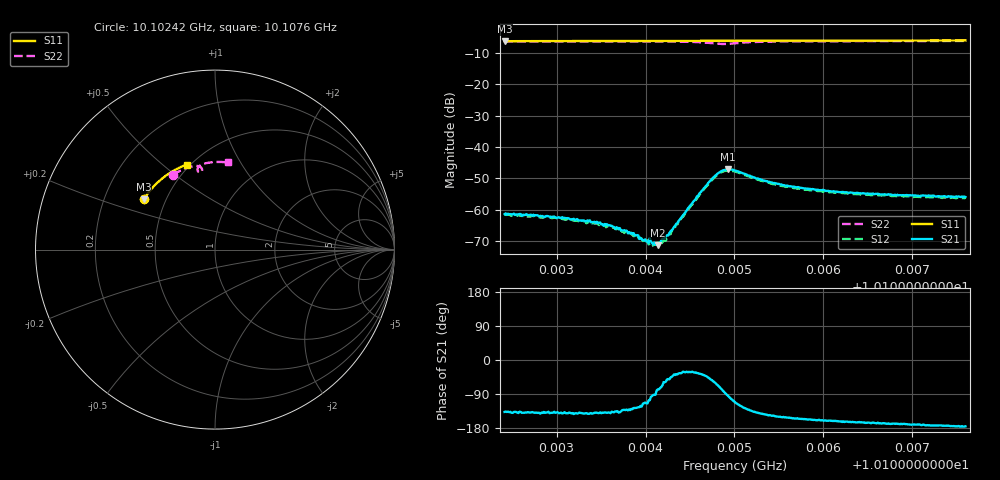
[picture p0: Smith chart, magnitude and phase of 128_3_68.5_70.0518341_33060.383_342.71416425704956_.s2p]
#  HZ  S  RI  R  50.00
! Rohde & Schwarz Vector Network Analyzer
! Rohde-Schwarz,ZNB20-2Port,1311601062101988,3.16
! Created: UTC 3/20/2024, 5:09:24 PM
! freq[Hz]  re:S11  im:S11  re:S21  im:S21  re:S12  im:S12  re:S22  im:S22
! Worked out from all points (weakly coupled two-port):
!   401 points, 10.10242 GHz to 10.1076 GHz, reference 50 ohm
!   highest |S21| = -47.18 dB at 10.10493 GHz (marker M1); lowest = -71.4 dB at 10.10414 GHz (marker M2)
!   lowest |S11| = -6.3 dB at 10.10242 GHz (marker M3), VSWR 2.89, Z = 18.8 + j13.7 ohm
!   |S11| at or under -10 dB: nowhere
!   |S22| runs from -7.2 to -6.2 dB; largest |S21 - S12| = 0.00044
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1.0102416e10  -0.3979 0.2794  -0.000619 -0.000579  -0.000551 -0.00063  -0.2333 0.4179
1.0102765e10  -0.3862 0.2972  -0.000619 -0.000535  -0.000551 -0.000564  -0.2135 0.4293
1.0103284e10  -0.3673 0.3226  -0.000509 -0.000426  -0.00045 -0.000463  -0.1824 0.4446
1.0103594e10  -0.3552 0.337  -0.000428 -0.000371  -0.000356 -0.000401  -0.1629 0.4529
1.0103802e10  -0.3469 0.3465  -0.000287 -0.00031  -0.000255 -0.000336  -0.1492 0.4578
1.0103892e10  -0.3431 0.3505  -0.00023 -0.000311  -0.000204 -0.00032  -0.1429 0.4598
1.0103957e10  -0.3404 0.3534  -0.000188 -0.00029  -0.000128 -0.000312  -0.1383 0.461
1.0104061e10  -0.3359 0.3579  -3.89e-05 -0.000309  -3.81e-05 -0.000288  -0.1309 0.463
1.0104139e10  -0.3328 0.3612  5.81e-05 -0.000263  6.85e-05 -0.000292  -0.1248 0.4643
1.0104151e10  -0.3321 0.3618  6.18e-05 -0.000277  0.000142 -0.000267  -0.1239 0.4646
1.0104203e10  -0.3299 0.364  0.000181 -0.000293  0.000169 -0.000266  -0.1198 0.4653
1.0104255e10  -0.3277 0.3662  0.000248 -0.000297  0.000267 -0.000273  -0.1155 0.4657
1.0104527e10  -0.3156 0.3776  0.00109 -0.000656  0.00108 -0.000536  -0.0902 0.4646
1.0104734e10  -0.3062 0.3859  0.00183 -0.00232  0.00195 -0.00204  -0.0721 0.4479
1.0104838e10  -0.3014 0.3898  0.00119 -0.00381  0.00148 -0.00354  -0.0763 0.4335
1.0104929e10  -0.2974 0.3932  -0.000367 -0.00436  2.69e-05 -0.00422  -0.0896 0.4318
1.0105006e10  -0.2939 0.3963  -0.00152 -0.00392  -0.00111 -0.0039  -0.0968 0.44
1.0105408e10  -0.2747 0.4111  -0.00227 -0.00152  -0.00203 -0.00164  -0.0749 0.473
1.0105874e10  -0.2511 0.4273  -0.00197 -0.000815  -0.0018 -0.000932  -0.0402 0.4835
1.0106172e10  -0.2359 0.4367  -0.00181 -0.000606  -0.0017 -0.000748  -0.0196 0.4862
1.0106742e10  -0.2057 0.4531  -0.00171 -0.00035  -0.0016 -0.000492  0.0186 0.4885
1.0107597e10  -0.158 0.4737  -0.00159 -0.000134  -0.00153 -0.000262  0.0743 0.4855
